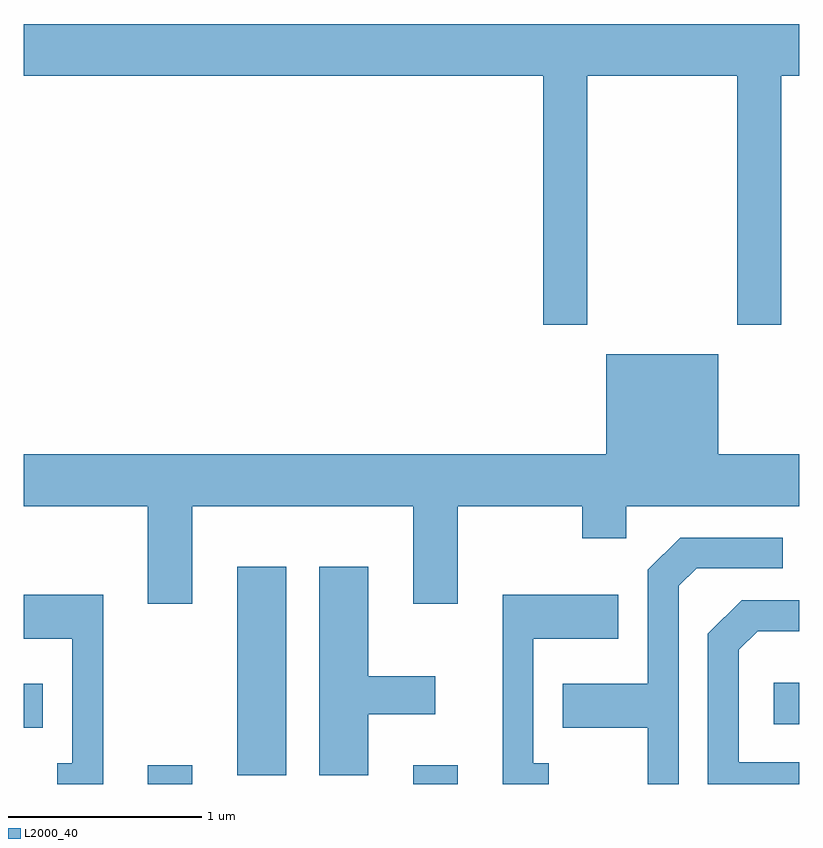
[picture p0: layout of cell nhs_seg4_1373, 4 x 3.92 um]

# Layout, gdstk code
import gdstk
lib = gdstk.Library(unit=1e-6, precision=1e-09)
def R(c, l, rs):  # rectangles x0, y0, x1, y1
    for r in rs: c.add(gdstk.rectangle(r[:2], r[2:], *l))
def P(c, l, *ps):  # polygons
    for p in ps: c.add(gdstk.Polygon(p, *l))
L2000_40 = (2000, 40)

nhs_seg4_1373 = lib.new_cell('nhs_seg4_1373')
R(nhs_seg4_1373, L2000_40, [(226.251,1279.982,226.479,1280.079), (227.621,1279.982,227.849,1280.079), (226.711,1280.026,226.964,1281.104), (225.611,1280.271,225.709,1280.499), (229.481,1280.291,229.611,1280.504)])
P(nhs_seg4_1373, L2000_40, [(228.519,1283.636),(229.291,1283.636),(229.291,1282.351),(229.519,1282.351),(229.519,1283.636),(229.611,1283.636),(229.611,1283.904),(225.611,1283.904),(225.611,1283.636),(228.291,1283.636),(228.291,1282.351),(228.519,1282.351)],
  [(226.479,1281.416),(227.621,1281.416),(227.621,1280.911),(227.849,1280.911),(227.849,1281.416),(228.491,1281.416),(228.491,1281.251),(228.719,1281.251),(228.719,1281.416),(229.611,1281.416),(229.611,1281.684),(229.194,1281.684),(229.194,1282.199),(228.616,1282.199),(228.616,1281.684),(225.611,1281.684),(225.611,1281.416),(226.251,1281.416),(226.251,1280.911),(226.479,1280.911)],
  [(228.989,1281.004),(229.082,1281.096),(229.528,1281.096),(229.528,1281.254),(228.999,1281.254),(228.831,1281.087),(228.831,1280.499),(228.391,1280.499),(228.391,1280.271),(228.831,1280.271),(228.831,1279.982),(228.989,1279.982)],
  [(227.389,1280.341),(227.734,1280.341),(227.734,1280.539),(227.389,1280.539),(227.389,1281.104),(227.136,1281.104),(227.136,1280.026),(227.389,1280.026)],
  [(226.019,1280.959),(225.611,1280.959),(225.611,1280.731),(225.861,1280.731),(225.861,1280.089),(225.783,1280.089),(225.783,1279.982),(226.019,1279.982)],
  [(228.318,1280.089),(228.239,1280.089),(228.239,1280.731),(228.679,1280.731),(228.679,1280.959),(228.081,1280.959),(228.081,1279.982),(228.318,1279.982)],
  [(229.611,1280.094),(229.299,1280.094),(229.299,1280.674),(229.397,1280.771),(229.611,1280.771),(229.611,1280.929),(229.314,1280.929),(229.141,1280.757),(229.141,1279.982),(229.611,1279.982)])

lib.write_gds('nhs_seg4_1373.gds')
